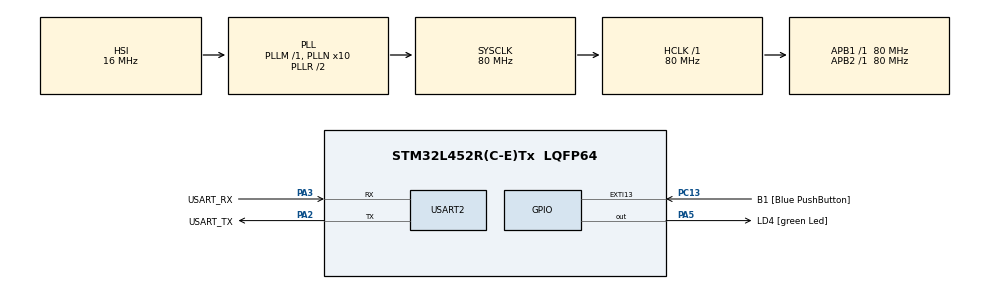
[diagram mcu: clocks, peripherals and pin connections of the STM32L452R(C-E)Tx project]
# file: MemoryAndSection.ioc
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Mcu.Family=STM32L4
Mcu.Name=STM32L452R(C-E)Tx
Mcu.Package=LQFP64
NVIC.PriorityGroup=NVIC_PRIORITYGROUP_4
PA13\ (JTMS/SWDIO).GPIO_Label=TMS
PA13\ (JTMS/SWDIO).Mode=Serial_Wire
PA13\ (JTMS/SWDIO).Signal=SYS_JTMS-SWDIO
PA14\ (JTCK/SWCLK).GPIO_Label=TCK
PA14\ (JTCK/SWCLK).Mode=Serial_Wire
PA14\ (JTCK/SWCLK).Signal=SYS_JTCK-SWCLK
PA2.GPIO_Label=USART_TX
PA2.GPIO_Mode=GPIO_MODE_AF_PP
PA2.GPIO_PuPd=GPIO_NOPULL
PA2.GPIO_Speed=GPIO_SPEED_FREQ_VERY_HIGH
PA2.Mode=Asynchronous
PA2.Signal=USART2_TX
PA3.GPIO_Label=USART_RX
PA3.GPIO_Mode=GPIO_MODE_AF_PP
PA3.GPIO_PuPd=GPIO_NOPULL
PA3.GPIO_Speed=GPIO_SPEED_FREQ_VERY_HIGH
PA3.Mode=Asynchronous
PA3.Signal=USART2_RX
PA5.GPIO_Label=LD4 [green Led]
PA5.GPIO_ModeDefaultOutputPP=GPIO_MODE_OUTPUT_PP
PA5.GPIO_PuPd=GPIO_NOPULL
PA5.GPIO_Speed=GPIO_SPEED_FREQ_LOW
PA5.Signal=GPIO_Output
PB3\ (JTDO/TRACESWO).GPIO_Label=SWO
PB3\ (JTDO/TRACESWO).Signal=SYS_JTDO-SWO
PC13.GPIO_Label=B1 [Blue PushButton]
PC13.GPIO_ModeDefaultEXTI=GPIO_MODE_IT_FALLING
PC13.GPIO_PuPd=GPIO_NOPULL
PC13.Signal=GPXTI13
PC14-OSC32_IN\ (PC14).Mode=LSE-External-Oscillator
PC14-OSC32_IN\ (PC14).Signal=RCC_OSC32_IN
PC15-OSC32_OUT\ (PC15).Mode=LSE-External-Oscillator
PC15-OSC32_OUT\ (PC15).Signal=RCC_OSC32_OUT
PH0-OSC_IN\ (PH0).Signal=RCC_OSC_IN
PH1-OSC_OUT\ (PH1).Signal=RCC_OSC_OUT
ProjectManager.HeapSize=0x200
ProjectManager.StackSize=0x400
ProjectManager.TargetToolchain=STM32CubeIDE
RCC.ADCFreq_Value=64000000
RCC.AHBFreq_Value=80000000
RCC.APB1Freq_Value=80000000
RCC.APB1TimFreq_Value=80000000
RCC.APB2Freq_Value=80000000
RCC.APB2TimFreq_Value=80000000
RCC.CortexFreq_Value=80000000
RCC.HCLKFreq_Value=80000000
RCC.HSE_VALUE=8000000
RCC.HSI48_VALUE=48000000
RCC.HSI_VALUE=16000000
RCC.MSI_VALUE=4000000
RCC.PLLN=10
RCC.PLLSourceVirtual=RCC_PLLSOURCE_HSI
RCC.PREFETCH_ENABLE=1
RCC.SYSCLKFreq_VALUE=80000000
RCC.SYSCLKSource=RCC_SYSCLKSOURCE_PLLCLK
RCC.USBFreq_Value=64000000
RCC.VCOOutputFreq_Value=160000000
USART2.VirtualMode-Asynchronous=VM_ASYNC
board=NUCLEO-L452RE

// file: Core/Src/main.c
/* USER CODE BEGIN Header */
/**
  ******************************************************************************
  * @file           : main.c
  * @brief          : Main program body
  ******************************************************************************
  * @attention
  *
  * Copyright (c) 2024 STMicroelectronics.
  * All rights reserved.
  *
  * This software is licensed under terms that can be found in the LICENSE file
  * in the root directory of this software component.
  * If no LICENSE file comes with this software, it is provided AS-IS.
  *
  ******************************************************************************
  */
/* USER CODE END Header */
#include "main.h"

UART_HandleTypeDef huart2;

/* USER CODE BEGIN PV */
unsigned char __attribute__((section(".myBufSectionRAM"))) buf_ram[128];
unsigned char __attribute__((section(".myBufSectionFLASH"))) buf_flash[10] = {0,1,2,3,4,5,6,7,8,9};
unsigned char __attribute__((section(".mysection"))) buf_my_memory[10] = {0,1,2,3,4,5,6,7,8,9};

static uint8_t __attribute__((section(".myBackUpRAM"))) u8_variable[10];
static uint16_t __attribute__((section(".myBackUpRAM"))) u16_variable;
/* USER CODE END PV */

void SystemClock_Config(void);
static void MX_GPIO_Init(void);
static void MX_USART2_UART_Init(void);

int main(void)
{

  /* MCU Configuration--------------------------------------------------------*/

  /* Reset of all peripherals, Initializes the Flash interface and the Systick. */
  HAL_Init();

  /* Configure the system clock */
  SystemClock_Config();

  /* USER CODE BEGIN SysInit */
  __HAL_RCC_BKPSRAM_CLK_ENABLE();
  HAL_PWR_EnableBkUpAccess();
  HAL_PWREx_EnableBkUpReg();

  if((u8_variable[0] % 0x10) != 0){
	  u8_variable[0] = 0x00;
	  u16_variable = 0x00;
  }
  else{
	  u8_variable[0] = u8_variable[0] + 0x10;
	  u16_variable += 1;
	  SCB_CleanDCache_by_Addr((uint32_t *)u8_variable, 32);

  }
  /* USER CODE END SysInit */

  /* Initialize all configured peripherals */
  MX_GPIO_Init();
  MX_USART2_UART_Init();

  /* Infinite loop */
  while (1)
  {

  }
}

void SystemClock_Config(void)
{
  RCC_OscInitTypeDef RCC_OscInitStruct = {0};
  RCC_ClkInitTypeDef RCC_ClkInitStruct = {0};

  /** Configure the main internal regulator output voltage
  */
  if (HAL_PWREx_ControlVoltageScaling(PWR_REGULATOR_VOLTAGE_SCALE1) != HAL_OK)
  {
    Error_Handler();
  }

  /** Initializes the RCC Oscillators according to the specified parameters
  * in the RCC_OscInitTypeDef structure.
  */
  RCC_OscInitStruct.OscillatorType = RCC_OSCILLATORTYPE_HSI;
  RCC_OscInitStruct.HSIState = RCC_HSI_ON;
  RCC_OscInitStruct.HSICalibrationValue = 64;
  RCC_OscInitStruct.PLL.PLLState = RCC_PLL_ON;
  RCC_OscInitStruct.PLL.PLLSource = RCC_PLLSOURCE_HSI;
  RCC_OscInitStruct.PLL.PLLM = 1;
  RCC_OscInitStruct.PLL.PLLN = 10;
  RCC_OscInitStruct.PLL.PLLP = RCC_PLLP_DIV7;
  RCC_OscInitStruct.PLL.PLLQ = RCC_PLLQ_DIV2;
  RCC_OscInitStruct.PLL.PLLR = RCC_PLLR_DIV2;
  if (HAL_RCC_OscConfig(&RCC_OscInitStruct) != HAL_OK)
  {
    Error_Handler();
  }

  /** Initializes the CPU, AHB and APB buses clocks
  */
  RCC_ClkInitStruct.ClockType = RCC_CLOCKTYPE_HCLK|RCC_CLOCKTYPE_SYSCLK
                              |RCC_CLOCKTYPE_PCLK1|RCC_CLOCKTYPE_PCLK2;
  RCC_ClkInitStruct.SYSCLKSource = RCC_SYSCLKSOURCE_PLLCLK;
  RCC_ClkInitStruct.AHBCLKDivider = RCC_SYSCLK_DIV1;
  RCC_ClkInitStruct.APB1CLKDivider = RCC_HCLK_DIV1;
  RCC_ClkInitStruct.APB2CLKDivider = RCC_HCLK_DIV1;

  if (HAL_RCC_ClockConfig(&RCC_ClkInitStruct, FLASH_LATENCY_4) != HAL_OK)
  {
    Error_Handler();
  }
}

static void MX_USART2_UART_Init(void)
{

  huart2.Instance = USART2;
  huart2.Init.BaudRate = 115200;
  huart2.Init.WordLength = UART_WORDLENGTH_8B;
  huart2.Init.StopBits = UART_STOPBITS_1;
  huart2.Init.Parity = UART_PARITY_NONE;
  huart2.Init.Mode = UART_MODE_TX_RX;
  huart2.Init.HwFlowCtl = UART_HWCONTROL_NONE;
  huart2.Init.OverSampling = UART_OVERSAMPLING_16;
  huart2.Init.OneBitSampling = UART_ONE_BIT_SAMPLE_DISABLE;
  huart2.AdvancedInit.AdvFeatureInit = UART_ADVFEATURE_NO_INIT;
  if (HAL_UART_Init(&huart2) != HAL_OK)
  {
    Error_Handler();
  }

}

static void MX_GPIO_Init(void)
{
  GPIO_InitTypeDef GPIO_InitStruct = {0};

  /* GPIO Ports Clock Enable */
  __HAL_RCC_GPIOC_CLK_ENABLE();
  __HAL_RCC_GPIOH_CLK_ENABLE();
  __HAL_RCC_GPIOA_CLK_ENABLE();
  __HAL_RCC_GPIOB_CLK_ENABLE();

  /*Configure GPIO pin Output Level */
  HAL_GPIO_WritePin(LD4_GPIO_Port, LD4_Pin, GPIO_PIN_RESET);

  /*Configure GPIO pin : B1_Pin */
  GPIO_InitStruct.Pin = B1_Pin;
  GPIO_InitStruct.Mode = GPIO_MODE_IT_FALLING;
  GPIO_InitStruct.Pull = GPIO_NOPULL;
  HAL_GPIO_Init(B1_GPIO_Port, &GPIO_InitStruct);

  /*Configure GPIO pin : LD4_Pin */
  GPIO_InitStruct.Pin = LD4_Pin;
  GPIO_InitStruct.Mode = GPIO_MODE_OUTPUT_PP;
  GPIO_InitStruct.Pull = GPIO_NOPULL;
  GPIO_InitStruct.Speed = GPIO_SPEED_FREQ_LOW;
  HAL_GPIO_Init(LD4_GPIO_Port, &GPIO_InitStruct);

}

void Error_Handler(void)
{
  __disable_irq();
  while (1)
  {
  }
}
